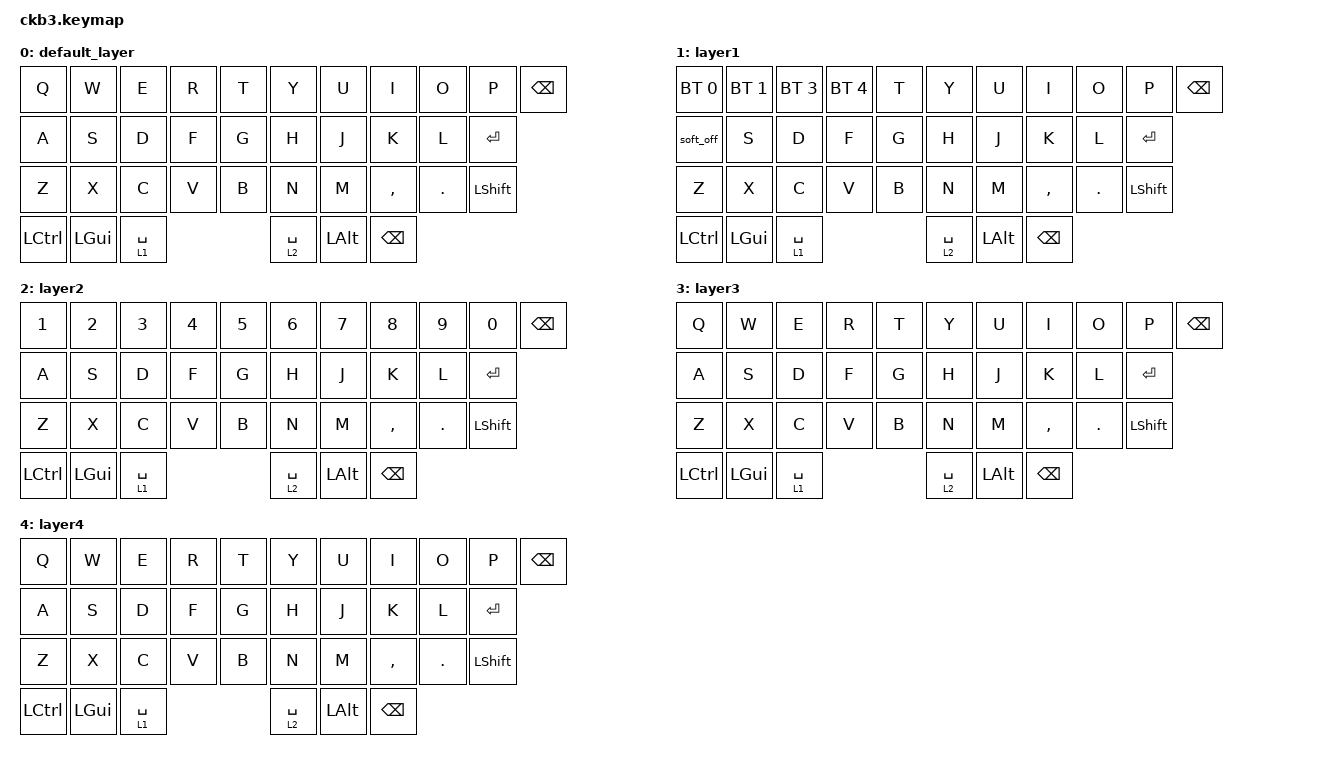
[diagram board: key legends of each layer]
/*
 * Copyright (c) 2020 The ZMK Contributors
 *
 * SPDX-License-Identifier: MIT
 */
#include <behaviors.dtsi>
#include <dt-bindings/zmk/keys.h>
#include <dt-bindings/zmk/bt.h>
#include <dt-bindings/zmk/outputs.h>

&soft_off {
    hold-time-ms = <1000>; // Only turn off it the key is held for 1 seconds or longer.
};

/ {
    combos {
        compatible = "zmk,combos";

        combo_esc {
            timeout-ms = <50>;
            key-positions = <0 1>;
            bindings = <&kp ESC>;
        };

        combo_delete {
            timeout-ms = <50>;
            key-positions = <9 10>;
            bindings = <&kp DELETE>;
        };

        combo_tab {
            timeout-ms = <50>;
            key-positions = <11 12>;
            bindings = <&kp TAB>;
        };

        combo_GUI {
            timeout-ms = <50>;
            key-positions = <30 31>;
            bindings = <&kp LGUI>;
        };

        combo_BTLayer {
            timeout-ms = <50>;
            key-positions = <33 34>;
            bindings = <&mo 4>;
        };
    };

keymap {
        compatible = "zmk,keymap";

        default_layer {
            bindings = <
                &kp Q  &kp W     &kp E    &kp R    &kp T                     &kp Y  &kp U    &kp I     &kp O   &kp P     &kp BSPC
                &kp A  &kp S     &kp D    &kp F    &kp G                     &kp H  &kp J    &kp K     &kp L   &kp RET
                &kp Z  &kp X     &kp C    &kp V    &kp B                     &kp N  &kp M    &kp COMMA &kp DOT &kp LSHFT
                &kp LCTRL &kp LGUI &lt 1 SPACE                              &lt 2 SPACE &kp LALT &kp BSPC          
            >;
        };

        layer1 {
            bindings = <
                &bt BT_SEL 0  &bt BT_SEL 1      &bt BT_SEL 3    &bt BT_SEL 4    &kp T                     &kp Y  &kp U    &kp I     &kp O   &kp P     &kp BSPC
                &soft_off  &kp S     &kp D    &kp F    &kp G                     &kp H  &kp J    &kp K     &kp L   &kp RET
                &kp Z  &kp X     &kp C    &kp V    &kp B                     &kp N  &kp M    &kp COMMA &kp DOT &kp LSHFT
                &kp LCTRL &kp LGUI &lt 1 SPACE                              &lt 2 SPACE &kp LALT &kp BSPC   
            >;
        };

        layer2 {
            bindings = <
                &kp 1  &kp 2     &kp 3    &kp 4    &kp 5                     &kp 6  &kp 7    &kp 8     &kp 9   &kp 0     &kp BSPC
                &kp A  &kp S     &kp D    &kp F    &kp G                     &kp H  &kp J    &kp K     &kp L   &kp RET
                &kp Z  &kp X     &kp C    &kp V    &kp B                     &kp N  &kp M    &kp COMMA &kp DOT &kp LSHFT
                &kp LCTRL &kp LGUI &lt 1 SPACE                              &lt 2 SPACE &kp LALT &kp BSPC   
            >;
        };

        layer3 {
            bindings = <
                 &kp Q  &kp W     &kp E    &kp R    &kp T                     &kp Y  &kp U    &kp I     &kp O   &kp P     &kp BSPC
                &kp A  &kp S     &kp D    &kp F    &kp G                     &kp H  &kp J    &kp K     &kp L   &kp RET
                &kp Z  &kp X     &kp C    &kp V    &kp B                     &kp N  &kp M    &kp COMMA &kp DOT &kp LSHFT
                &kp LCTRL &kp LGUI &lt 1 SPACE                              &lt 2 SPACE &kp LALT &kp BSPC   
            >;
        };

        layer4 {
            bindings = <
                           &kp Q  &kp W     &kp E    &kp R    &kp T                     &kp Y  &kp U    &kp I     &kp O   &kp P     &kp BSPC
                &kp A  &kp S     &kp D    &kp F    &kp G                     &kp H  &kp J    &kp K     &kp L   &kp RET
                &kp Z  &kp X     &kp C    &kp V    &kp B                     &kp N  &kp M    &kp COMMA &kp DOT &kp LSHFT  
                &kp LCTRL &kp LGUI &lt 1 SPACE                              &lt 2 SPACE &kp LALT &kp BSPC 
            >;
        };
    };
};
